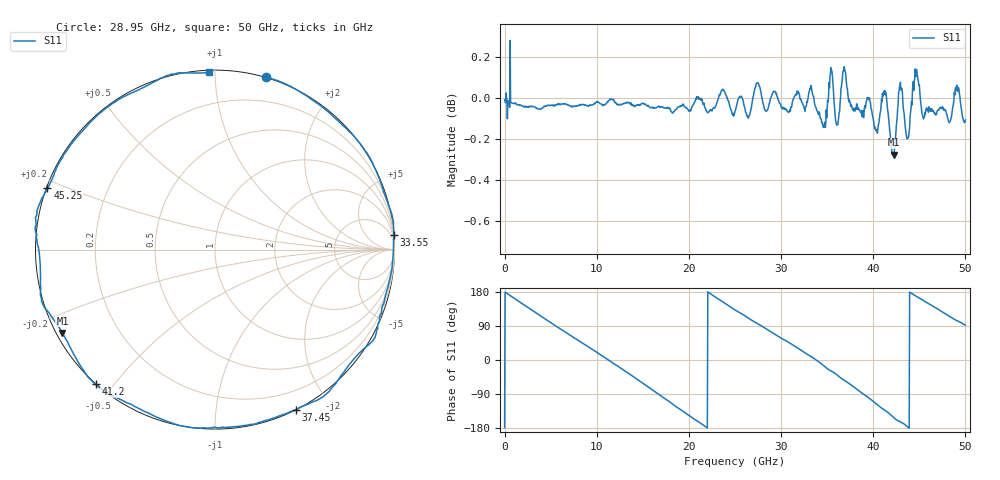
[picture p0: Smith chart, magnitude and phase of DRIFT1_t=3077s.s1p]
!Created with skrf (http://scikit-rf.org).
# Hz S RI R 50.0
!freq ReS11 ImS11
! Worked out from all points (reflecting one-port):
!   1001 points, 300 kHz to 50 GHz, reference 50 ohm
!   lowest |S11| = -0.3 dB at 42.2 GHz (marker M1), VSWR 62.97, Z = 0.846 - j12.8 ohm
!   phase of S11 starts at -179 deg and turns -809 deg over the sweep
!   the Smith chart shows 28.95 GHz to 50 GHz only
!   S11 on the Smith chart (normalised r, x): 28.95 GHz: -0.00, +1.34; 33.55 GHz: -0, +25; 37.45 GHz: 0.00, -1.62; 41.2 GHz: -0.00, -0.45; 45.25 GHz: 0.00, +0.18; 50 GHz: 0.01, +0.97
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300000  -0.9987 -0.0231
1.65029e9  -0.8865 0.4535
3.40028e9  -0.5606 0.8213
6.250262e9  0.1932 0.9776
9.600242e9  0.893 0.4417
1.115023e10  0.9974 0.0323
1.250022e10  0.9376 -0.3373
1.580021e10  0.2624 -0.9593
1.73002e10  -0.1791 -0.9782
1.875019e10  -0.5785 -0.8092
2.050018e10  -0.9012 -0.4249
2.180017e10  -0.9917 -0.0721
2.350016e10  -0.9196 0.4024
2.500015e10  -0.6645 0.7374
2.720014e10  -0.1662 0.9918
2.895013e10  0.2827 0.9602
3.125011e10  0.764 0.6425
3.35501e10  0.9973 0.0803
3.555009e10  0.8734 -0.5147
3.745008e10  0.4497 -0.891
3.750008e10  0.4329 -0.8985
3.945006e10  -0.1489 -0.9891
4.120005e10  -0.6652 -0.7496
4.220005e10  -0.8499 -0.4648
4.375004e10  -0.9764 -0.0546
4.525003e10  -0.9333 0.3416
4.765001e10  -0.563 0.8188
5e10  -0.0337 0.9872
